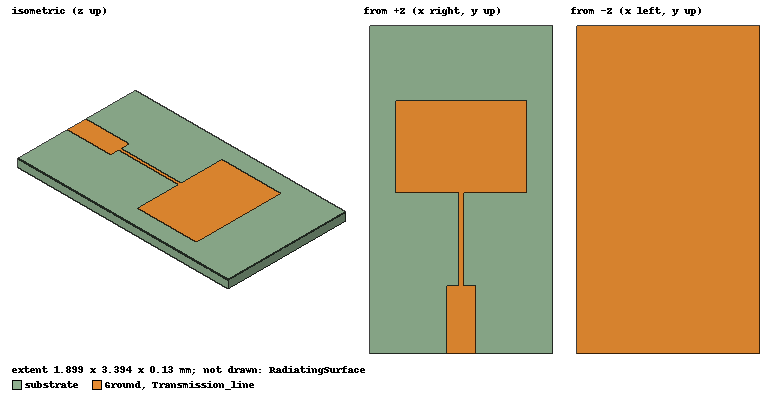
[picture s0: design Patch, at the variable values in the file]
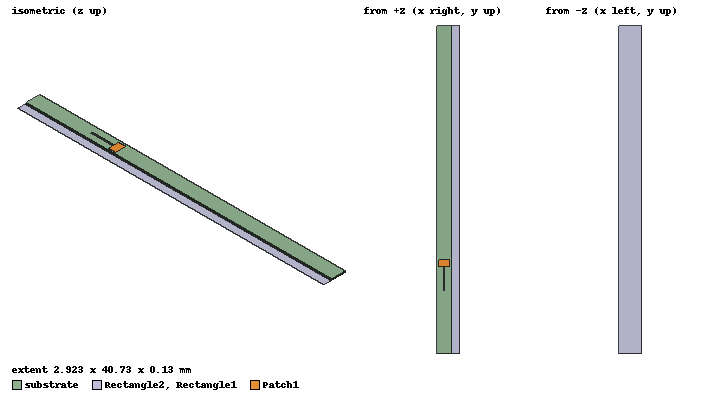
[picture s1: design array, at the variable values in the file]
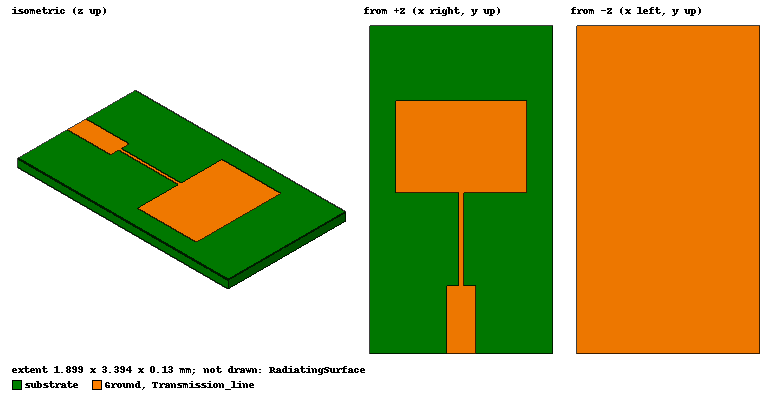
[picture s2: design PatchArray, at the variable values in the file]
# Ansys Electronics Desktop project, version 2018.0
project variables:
  $mid = (31/2) mm
  $subX = $PatchX+$padx*2-0.01mm
  $subY = $PatchY+6*$subZ+$qwtY+$trlL
  $subZ = 0.13mm
  $PatchX = 1.3632494mm
  $PatchY = 0.95mm  # 1.0515203477611
  $qwtX = 0.044162097mm
  $qwtY = 0.96396289mm
  $trlX = 0.30209426mm
  $trlL = 0.7mm
  $feedL = 2.91mm
  $wL1 = 0.1818mm
  $wL2 = 0.1566mm
  $lambda = 3.819mm
  $padx = 0.273mm
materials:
  air: permittivity=1.0006 permeability=1.0000004
  copper: permeability=0.999991 conductivity=58000000
  FR4_epoxy: permittivity=4.4 dielectric_loss_tangent=0.02
  Rogers RO3003 (tm): permittivity=3 dielectric_loss_tangent=0.0013
  Rogers RT/duroid 5880 (tm): permittivity=2.2 dielectric_loss_tangent=0.0009
  vacuum: permittivity=1

design antenna (HFSS, DrivenModal, model units mm)
options: open_region{BoundaryType=0 OpFreq=78.5GHz}
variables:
  Wf = 0.07mm
  mid = (31/2) mm
  thickness = 0.127mm
  d1 = 2.35mm
  Ll1 = 1.1mm
  Wl1 = 0.3mm
  d2 = 2.4mm
  Ll2 = 0.9mm
  Wl2 = 0.58mm
  d3 = 2.65mm
  Ll3 = 1.5mm
  Wl3 = 1.1mm
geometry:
  Substrate [Rogers RT/duroid 5880 (tm)] = box(corner=(0mm, 0mm, 0mm), size=(21mm, 31mm, 0.127mm))
  ground = rectangle(corner=(0mm, 0mm, 0mm), x_size=21mm, y_size=31mm)
  EdgeFeedLine = rectangle(corner=(0mm, (31/2-0.035) mm, thickness), x_size=d1-Ll1/2, y_size=0.07mm)
  patch1 = rectangle(corner=(d1-Ll1/2, (31/2-0.15) mm, thickness), x_size=Ll1, y_size=Wl1)
  FeedLine2 = rectangle(corner=(d1+Ll1/2, 31/2-(0.035) mm, thickness), x_size=d2-(Ll1/2)-(Ll2/2), y_size=0.07mm)
  patch2 = rectangle(corner=(d1+d2-Ll2/2, (31/2-0.29) mm, thickness), x_size=Ll2, y_size=Wl2)
  FeedLine3 = rectangle(corner=(d1+d2+Ll2/2, (31/2-0.035) mm, thickness), x_size=d3-Ll3/2-Ll2/2, y_size=Wf)
  patch3 = rectangle(corner=(d1+d2+d3-Ll3/2, (15.5-0.55) mm, thickness), x_size=Ll3, y_size=Wl3)
  FeedLine4 = rectangle(corner=(d1+d2+d3+Ll3/2, (mid-Wf/2), 0.127mm), x_size=d3-Ll3, y_size=Wf)
  patch4 = rectangle(corner=(d1+d2+d3*2-Ll3/2, (15.5-0.55) mm, thickness), x_size=Ll3, y_size=Wl3)
  FeedLine5 = rectangle(corner=(d1+d2+d3*2+Ll3/2, (31/2-0.035) mm, thickness), x_size=d3-(Ll2/2)-Ll3/2, y_size=Wf)
  patch5 = rectangle(corner=(d1+d2+d3*3-Ll2/2, (31/2-0.29) mm, thickness), x_size=Ll2, y_size=Wl2)
  patch6 = rectangle(corner=(d1+d2*2+d3*3-Ll1/2, (31/2-0.15) mm, thickness), x_size=Ll1, y_size=Wl1)
  FeedLine6 = rectangle(corner=(d1+d2+d3*3+Ll2/2, 31/2-(0.035) mm, thickness), x_size=d2-(Ll1/2)-(Ll2/2), y_size=0.07mm)
  EdgeFeedLine.unite(FeedLine2..FeedLine6, patch1..patch6)
  port = rectangle(corner=(0mm, (31/2-0.035) mm, 0mm), y_size=0.07mm, z_size=0.127mm)
  RadiatingSurface [vacuum] = region(absolute_offset=1.2738854mm on all sides)
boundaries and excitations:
  PerfE1: Perfect E Objects=ground
  PerfE2: Perfect E Objects=EdgeFeedLine
  AutoOpen1: Radiation Objects=RadiatingSurface
  1: Lumped Port Objects=port Modes{Mode1{IntLine{middle of port.edge(z at corner) -> middle of port.edge(z opposite corner)} CharImp=Zpi RenormImp=250ohm}} Impedance=50ohm
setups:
  Auto1: HfssDriven Frequency=78.5GHz MaxDeltaS=0.02 MaximumPasses=20 MinimumPasses=1 MinimumConvergedPasses=1 PercentRefinement=30 BasisOrder=1 PortAccuracy=2
    sweep Sweep: 73GHz to 81GHz step 0.01GHz; Type=Interpolating InterpTolerance=0.5 InterpMaxSolns=250 InterpUsePortImped=false PassivityErrorTolerance=0.0001
    sweep midpoint: point 78.5GHz; Type=Discrete
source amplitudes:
  1:1: 1W 0deg
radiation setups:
  3D: Infinite Sphere Theta=0deg..180deg step 2deg Phi=-180deg..180deg step 2deg
  Elevation: Infinite Sphere Theta=-180deg..180deg step 1deg Phi=0deg..90deg step 90deg
  Azimuth: Infinite Sphere Theta=90deg..90deg step 0deg Phi=-180deg..180deg step 1deg
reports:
  S Parameter Plot 1: dB(S(1,1)) vs Freq on Auto1 : Sweep; markers MY1 at y=-10
  Z Parameter Plot 1: re(Z(1,1)), im(Z(1,1)) vs Freq on Auto1 : Sweep; markers MX1 at x=7.808e+10, MY1 at y=0

design Patch (HFSS, DrivenModal, model units mm)
options: open_region{BoundaryType=0 OpFreq=77.75GHz}
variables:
  subX = 4mm
  sybY = 3mm
  subY = 3mm
  subZ = 0.13mm
  trlX = 0.30209426mm
  qwtX = 0.03741799mm
  qwtY = 0.97335214mm
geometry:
  substrate [Rogers RO3003 (tm)] = box(corner=(0mm, 0mm, 0mm), size=($subX, $subY, $subZ))
  Ground = rectangle(corner=(0mm, 0mm, 0mm), x_size=$subX, y_size=$subY)
  Patch1 = rectangle(corner=($subX /2-$PatchX/2, $qwtY+ $trlL, $subZ), x_size=$PatchX, y_size=$PatchY)
  RadiatingSurface [vacuum] = region(absolute_offset=1.2861736mm on all sides)
  Transmission_line = rectangle(corner=($subX /2 - $trlX/2, 0, $subZ), x_size=$trlX, y_size=$trlL)
  qwt = rectangle(corner=($subX/2-$qwtX/2, $trlL, $subZ), x_size=$qwtX, y_size=$qwtY)
  port = rectangle(corner=($subX /2-$trlX/2, 0mm, 0mm), z_size=$subZ, x_size=$trlX)
  Transmission_line.unite(qwt, Patch1)
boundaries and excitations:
  PerfE1: Perfect E Objects=Ground
  AutoOpen1: Radiation Objects=RadiatingSurface
  PerfE4: Perfect E Objects=Transmission_line
  1: Lumped Port Objects=port Modes{Mode1{IntLine{middle of port.edge(z at corner) -> middle of port.edge(z opposite corner)} CharImp=Zpi RenormImp=50ohm}} Impedance=50ohm
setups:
  Auto1: HfssDriven Frequency=77.75GHz MaxDeltaS=0.02 MaximumPasses=15 MinimumPasses=1 MinimumConvergedPasses=1 PercentRefinement=30 BasisOrder=1 PortAccuracy=2 VariablesForDerivatives($PatchX, $PatchY, $qwtX, $qwtY, $trlL, $trlX) VariableFlagsForDerivatives(1, 1, 1, 1, 1, 1)
    sweep Sweep: 60GHz to 100GHz step 0.006GHz; Type=Interpolating InterpTolerance=0.5 InterpMaxSolns=250 InterpUsePortImped=false PassivityErrorTolerance=0.0001
    sweep single: point 77.75GHz; Type=Discrete
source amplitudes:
  1:1: 1W 0deg
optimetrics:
  ParametricSetup1: Parametric Sim._Setups=[Auto1]
    sweep $qwtX: LIN 0.022081048mm 0.066243146mm 0.005mm
    sweep $PatchY: LIN 0.9mm 1.1mm 0.1mm
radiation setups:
  3D: Infinite Sphere Theta=0deg..180deg step 2deg Phi=-180deg..180deg step 2deg
  Elevation: Infinite Sphere Theta=-180deg..180deg step 1deg Phi=0deg..90deg step 90deg
  Azimuth: Infinite Sphere Theta=90deg..90deg step 0deg Phi=-180deg..180deg step 1deg
  Infinite Sphere1: Infinite Sphere Theta=0deg..180deg step 2deg Phi=-180deg..180deg step 2deg
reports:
  S Parameter Plot 1: dB(S(1,1)) vs Freq on Auto1 : Sweep; markers MX1 at x=7.6856108e+10, MX2 at x=8.0016884e+10, MY1 at y=-10, MY2 at y=-41.7354
  Z Parameter Plot 1: re(Z(1,1)), im(Z(1,1)) vs Freq on Auto1 : Sweep; markers MX1 at x=7.7754569e+10, MY1 at y=0.116812
  Gain Plot 1: dB(GainTotal) vs Theta on Auto1 : LastAdaptive, Elevation [Phi=all Freq=77.75GHz $PatchY=all $qwtX=all $trlL=all]; markers m1 at 0deg
  Gain Plot 3: dB(GainTotal) vs Phi, Theta on Auto1 : LastAdaptive, 3D [Freq=77.75GHz $PatchY=0.95mm]
  Directivity Plot 1: dB(DirTotal) vs Phi, Theta on Auto1 : LastAdaptive, 3D [Freq=77.75GHz $PatchY=0.95mm]
  Directivity Plot 2: dB(DirTotal) vs Theta on Auto1 : LastAdaptive, Elevation [Phi=all Freq=77.75GHz]; markers m1 at 0deg
   Plot 1: mag(partialS(1,1,$PatchX)), mag(partialS(1,1,$PatchY)), mag(partialS(1,1,$qwtX)), mag(partialS(1,1,$qwtX)), mag(partialS(1,1,$trlL)), mag(partialS(1,1,$trlX)) vs Freq on Auto1 : Sweep; markers MX1 at x=7.8499576e+10
  Tune S Parameter Plot 1: mag(TuneS(1,1,All)) vs Freq on Auto1 : Sweep; markers MX1 at x=7.7767487e+10
  Tune Z Parameter Plot 1: re(TuneZ(1,1,All)), im(TuneZ(1,1,All)) vs Freq on Auto1 : Sweep; markers MX1 at x=7.775e+10, MX2 at x=7.3846633e+10
  S Parameter Plot 2: dB(S(1,1)) vs Freq on Auto1 : Sweep [$PatchY=all]; dB(S(1,1)) vs Freq on Auto1 : Sweep [$PatchY=0.9mm,0.95mm,1mm,1.1mm]; dB(S(1,1)) vs Freq on Auto1 : Sweep [$PatchY=0.9mm,0.95mm,1mm,1.1mm $qwtX=all]; markers MX1 at x=7.8663798e+10
  S Parameter Plot 3: dB(S(1,1)) vs Freq on Auto1 : Sweep [$PatchY=0.95mm $qwtX=all]

design array (HFSS, DrivenModal, model units mm)
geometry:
  substrate [Rogers RO3003 (tm)] = box(corner=(0mm, 0mm, 0mm), size=($subX, $subY*4*3, $subZ))
  Patch1 = rectangle(corner=($subX /2-1.36324mm/2, $subY*4 - 1.4mm*2, $subZ), x_size=1.3632494mm, y_size=0.95mm)
  port = rectangle(corner=($subX /2- 0.151mm, $subY*4 - 1.4mm*2, $subZ), z_size=-$subZ, x_size=0.302mm)
  Rectangle1 = rectangle(corner=($subX/2 - $wL1/2, $subY*4 - 1.4mm*2 - $feedL, 0.13mm), x_size=$wL1, y_size=$feedL)
  Rectangle2 = rectangle(corner=(2.9232494mm, 0mm, 0mm), x_size=-2.9232494mm, y_size=40.72755465mm)
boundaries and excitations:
  FiniteCond1: Finite Conductivity Objects=Patch1 UseMaterial Material=copper IsInternal
  FiniteCond3: Finite Conductivity Objects=port UseMaterial Material=copper IsInternal
  1: Lumped Port Objects=port Modes{Mode1{IntLine{middle of port.edge(z opposite corner) -> middle of port.edge(z at corner)} CharImp=Zpi}} Impedance=50ohm
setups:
  Setup1: HfssDriven Frequency=78.5GHz MaxDeltaS=0.01 MaximumPasses=25 MinimumPasses=1 MinimumConvergedPasses=1 PercentRefinement=30 BasisOrder=1 PortAccuracy=2
    sweep Sweep: 70GHz to 85GHz step 0.02GHz; Type=Interpolating InterpTolerance=0.5 InterpMaxSolns=250 InterpUsePortImped=false PassivityErrorTolerance=0.0001
    sweep single: point 78.5GHz; Type=Discrete
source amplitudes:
  1:1: 1W 0deg
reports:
  S Parameter Plot 1: dB(S(1,1)) vs Freq on Setup1 : Sweep
  Z Parameter Plot 1: re(Z(1,1)), im(Z(1,1)) vs Freq on Setup1 : Sweep; markers MX1 at x=7.8499665e+10

design PatchArray (HFSS, DrivenModal, model units mm)
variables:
  subX = 4mm
  sybY = 3mm
  subY = 3mm
  subZ = 0.13mm
  trlX = 0.30209426mm
  xpad = 0.273mm
  qwtX = 0.03741799mm
  qwtY = 0.97335214mm
  psi = 0deg
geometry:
  substrate [Rogers RO3003 (tm)] = box(corner=(0mm, 0mm, 0mm), size=($subX, $subY, $subZ))
  Ground = rectangle(corner=(0mm, 0mm, 0mm), x_size=$subX, y_size=$subY)
  Patch1 = rectangle(corner=($subX /2-$PatchX/2, $qwtY+ $trlL, $subZ), x_size=$PatchX, y_size=$PatchY)
  RadiatingSurface [vacuum] = region(absolute_offset: +X=0.01mm, -X=0.01mm, +Y=0.01mm, -Y=1.2861736mm, +Z=1.2861736mm, -Z=1.2861736mm)
  Transmission_line = rectangle(corner=($subX /2 - $trlX/2, 0, $subZ), x_size=$trlX, y_size=$trlL)
  qwt = rectangle(corner=($subX/2-$qwtX/2, $trlL, $subZ), x_size=$qwtX, y_size=$qwtY)
  port = rectangle(corner=($subX /2-$trlX/2, 0mm, 0mm), z_size=$subZ, x_size=$trlX)
  Transmission_line.unite(qwt, Patch1)
  coordinate_system RelativeCS1 = origin=($subX*1.5, 0mm, 0mm) Euler Angle ZYZ phi=0deg theta=0deg psi=0deg
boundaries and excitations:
  PerfE1: Perfect E Objects=Ground
  PerfE4: Perfect E Objects=Transmission_line
  Master1: Master Faces=RadiatingSurface.face(-x) CoordSysVector{RadiatingSurface.vertex(3 of 8) -> RadiatingSurface.vertex(4 of 8)}
  Slave1: Slave Faces=RadiatingSurface.face(+x) CoordSysVector{RadiatingSurface.vertex(2 of 8) -> RadiatingSurface.vertex(1 of 8)} ReverseV master=Master1 UseScanAngles Phi=0deg Theta=0deg
  Master2: Master Faces=RadiatingSurface.face(-y) CoordSysVector{RadiatingSurface.vertex(4 of 8) -> RadiatingSurface.vertex(1 of 8)}
  Slave2: Slave Faces=RadiatingSurface.face(+y) CoordSysVector{RadiatingSurface.vertex(3 of 8) -> RadiatingSurface.vertex(2 of 8)} ReverseV master=Master2 UseScanAngles Phi=0deg Theta=0deg
  Rad1: Radiation Faces=RadiatingSurface.face(+z)
  Rad2: Radiation Faces=RadiatingSurface.face(-z)
  1: Lumped Port Objects=port Modes{Mode1{IntLine{middle of port.edge(z at corner) -> middle of port.edge(z opposite corner)} CharImp=Zpi RenormImp=50ohm}} Impedance=50ohm
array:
  Type=Regular Name=A UseAirObjects RowMasterBnd=Master1 ColumnMasterBnd=Master2 RowDimension=3 ColumnDimension=3 PostProcessRow=3 PostProcessCol=3 Padding=1
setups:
  Auto1: HfssDriven Frequency=77.75GHz MaxDeltaS=0.02 MaximumPasses=15 MinimumPasses=1 MinimumConvergedPasses=1 PercentRefinement=30 BasisOrder=1 PortAccuracy=2 UseDomains DDMSolverResidual=0.0001 VariableFlagsForDerivatives(1, 1, 1, 1, 1, 1)
    sweep single: point 77.75GHz; Type=Discrete
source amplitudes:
  1:1: 13dBm 0deg
  1:2: 13dBm psi
  1:3: 13dBm 2*psi
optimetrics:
  ParametricSetup1: Parametric Sim._Setups=[Auto1]
    sweep $qwtX: LIN 0.022081048mm 0.066243146mm 0.005mm
    sweep $PatchY: LIN 0.9mm 1.1mm 0.1mm
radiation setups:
  Infinite Sphere1: Infinite Sphere Theta=0deg..180deg step 1deg Phi=-180deg..180deg step 1deg CoordSystem=RelativeCS1
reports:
  Directivity Plot 1: dB(DirTotal) vs Phi, Theta on Auto1 : LastAdaptive, Infinite Sphere1 [Freq=77.75GHz $PatchY=0.95mm $qwtX=0.0441621mm]
